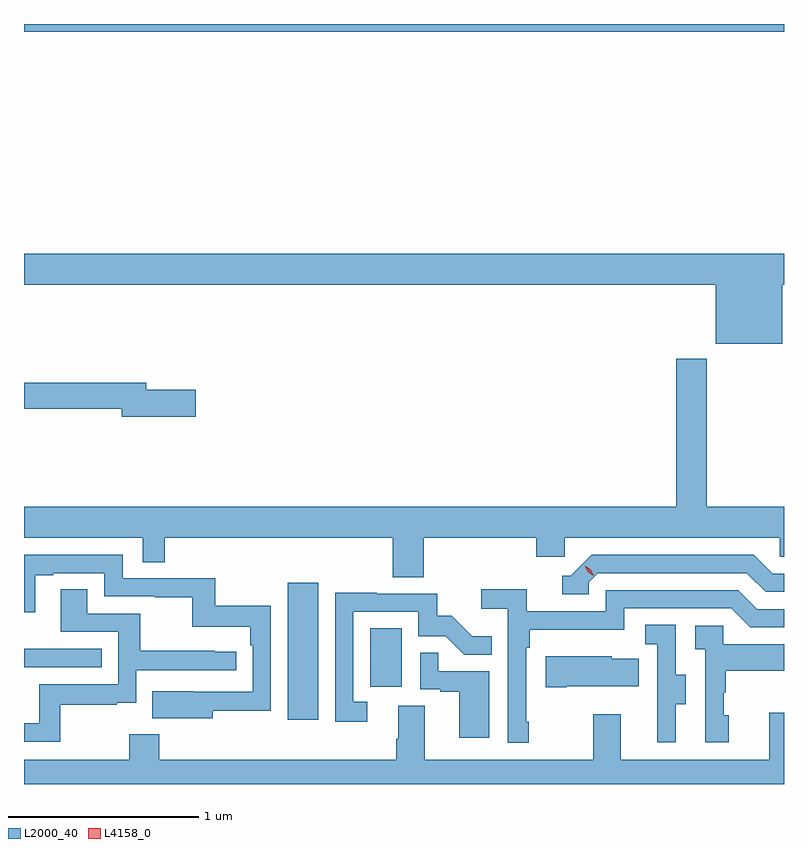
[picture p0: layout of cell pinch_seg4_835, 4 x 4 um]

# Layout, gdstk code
import gdstk
lib = gdstk.Library(unit=1e-6, precision=1e-09)
def R(c, l, rs):  # rectangles x0, y0, x1, y1
    for r in rs: c.add(gdstk.rectangle(r[:2], r[2:], *l))
def P(c, l, *ps):  # polygons
    for p in ps: c.add(gdstk.Polygon(p, *l))
L2000_40 = (2000, 40)
L4158_0 = (4158, 0)

pinch_seg4_835 = lib.new_cell('pinch_seg4_835')
R(pinch_seg4_835, L2000_40, [(886.607,801.192,886.768,801.913), (887.042,801.366,887.206,801.673), (885.219,801.468,885.629,801.564), (885.219,804.812,889.219,804.853)])
P(pinch_seg4_835, L2000_40, [(889.21,803.48),(889.219,803.48),(889.219,803.644),(885.219,803.644),(885.219,803.48),(888.86,803.48),(888.86,803.171),(889.21,803.171)],
  [(887.324,802.148),(887.915,802.148),(887.915,802.05),(888.066,802.05),(888.066,802.148),(889.197,802.148),(889.197,802.05),(889.219,802.05),(889.219,802.312),(888.813,802.312),(888.813,803.092),(888.653,803.092),(888.653,802.312),(885.219,802.312),(885.219,802.148),(885.843,802.148),(885.843,802.021),(885.959,802.021),(885.959,802.148),(887.159,802.148),(887.159,801.94),(887.324,801.94)],
  [(886.123,802.928),(885.862,802.928),(885.862,802.964),(885.219,802.964),(885.219,802.828),(885.734,802.828),(885.734,802.786),(886.123,802.786)],
  [(888.192,801.915),(888.24,801.963),(889.023,801.963),(889.122,801.864),(889.219,801.864),(889.219,801.96),(889.159,801.96),(889.06,802.059),(888.207,802.059),(888.096,801.948),(888.053,801.948),(888.053,801.852),(888.192,801.852)],
  [(886.213,801.238),(886.518,801.238),(886.518,801.79),(886.225,801.79),(886.225,801.936),(885.738,801.936),(885.738,802.059),(885.219,802.059),(885.219,801.758),(885.277,801.758),(885.277,801.951),(885.373,801.951),(885.373,801.963),(885.642,801.963),(885.642,801.84),(885.907,801.84),(885.907,801.835),(886.104,801.835),(886.104,801.68),(886.409,801.68),(886.409,801.584),(886.422,801.584),(886.422,801.339),(886.109,801.339),(886.109,801.34),(885.895,801.34),(885.895,801.2),(886.213,801.2)],
  [(887.875,801.181),(887.862,801.181),(887.862,801.569),(887.882,801.569),(887.882,801.665),(888.378,801.665),(888.378,801.777),(888.942,801.777),(889.041,801.678),(889.219,801.678),(889.219,801.774),(889.078,801.774),(888.979,801.873),(888.282,801.873),(888.282,801.762),(887.864,801.762),(887.864,801.878),(887.625,801.878),(887.625,801.776),(887.766,801.776),(887.766,801.069),(887.875,801.069)],
  [(885.409,801.27),(885.707,801.27),(885.707,801.281),(885.81,801.281),(885.81,801.453),(886.336,801.453),(886.336,801.549),(886.223,801.549),(886.223,801.554),(885.83,801.554),(885.83,801.75),(885.553,801.75),(885.553,801.878),(885.413,801.878),(885.413,801.654),(885.714,801.654),(885.714,801.378),(885.298,801.378),(885.298,801.172),(885.219,801.172),(885.219,801.075),(885.409,801.075)],
  [(887.026,801.285),(886.953,801.285),(886.953,801.759),(887.295,801.759),(887.295,801.63),(887.439,801.63),(887.537,801.532),(887.681,801.532),(887.681,801.631),(887.577,801.631),(887.47,801.738),(887.394,801.738),(887.394,801.855),(887.075,801.855),(887.075,801.86),(886.857,801.86),(886.857,801.18),(887.026,801.18)],
  [(888.649,801.274),(888.703,801.274),(888.703,801.429),(888.648,801.429),(888.648,801.692),(888.489,801.692),(888.489,801.589),(888.552,801.589),(888.552,801.285),(888.551,801.285),(888.551,801.072),(888.649,801.072)],
  [(888.928,801.216),(888.903,801.216),(888.903,801.335),(888.913,801.335),(888.913,801.449),(889.219,801.449),(889.219,801.589),(888.9,801.589),(888.9,801.687),(888.753,801.687),(888.753,801.563),(888.804,801.563),(888.804,801.072),(888.928,801.072)],
  [(887.668,801.447),(887.399,801.447),(887.399,801.545),(887.304,801.545),(887.304,801.351),(887.411,801.351),(887.411,801.339),(887.51,801.339),(887.51,801.096),(887.668,801.096)],
  [(888.076,801.368),(888.455,801.368),(888.455,801.511),(888.312,801.511),(888.312,801.526),(887.964,801.526),(887.964,801.361),(888.076,801.361)],
  [(889.219,801.229),(889.142,801.229),(889.142,800.98),(888.361,800.98),(888.361,801.22),(888.214,801.22),(888.214,800.98),(887.329,800.98),(887.329,801.266),(887.189,801.266),(887.189,801.092),(887.177,801.092),(887.177,800.98),(885.932,800.98),(885.932,801.115),(885.772,801.115),(885.772,800.98),(885.219,800.98),(885.219,800.853),(889.219,800.853)])
P(pinch_seg4_835, L4158_0, [(888.216,801.949),(888.186,801.969),(888.169,802.001),(888.169,802.001),(888.169,802.001),(888.2,801.982),(888.217,801.95),(888.217,801.949)])

lib.write_gds('pinch_seg4_835.gds')
